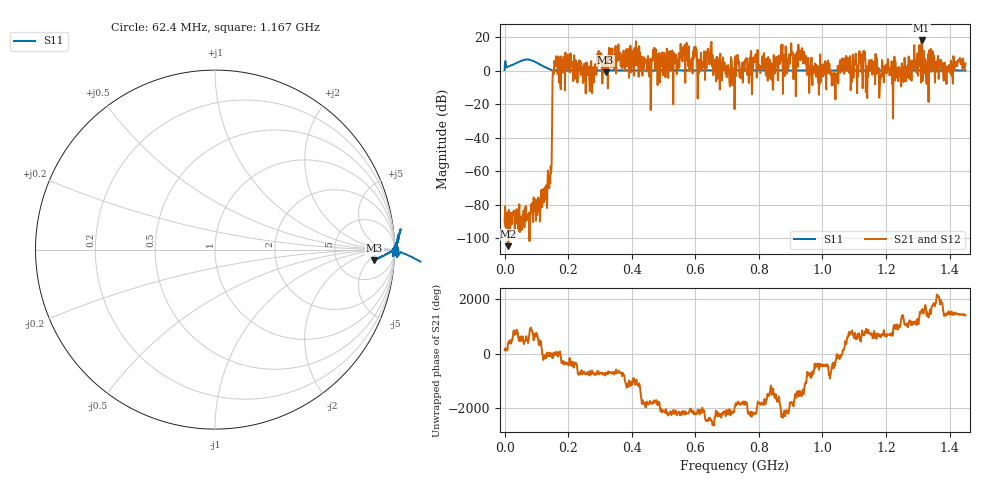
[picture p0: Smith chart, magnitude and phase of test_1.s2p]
! Created with skrf 1.11.0 (http://scikit-rf.org).
# Hz S RI R 50.0
!freq ReS11 ImS11 ReS21 ImS21 ReS12 ImS12 ReS22 ImS22
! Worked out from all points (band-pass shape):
!   1001 points, 50 kHz to 1.45 GHz, reference 50 ohm
!   highest |S21| = 17.91 dB at 1.312 GHz (marker M1); lowest = -104.7 dB at 11.65 MHz (marker M2)
!   |S21| within 3 dB of the highest: 648.8793 MHz to 651.2931 MHz (2.414 MHz wide, 0.371 % of centre); 923.622 MHz to 925.1871 MHz (1.565 MHz wide, 0.169 % of centre) (the widest 2 of 13)
!   lowest |S11| = -1.0 dB at 317.6 MHz (marker M3), VSWR 17.20, Z = 647 - j371 ohm
!   |S11| at or under -10 dB: nowhere
!   |S22| runs from - to - dB; largest |S21 - S12| = 0
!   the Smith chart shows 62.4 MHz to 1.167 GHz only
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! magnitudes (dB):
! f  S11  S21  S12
! 50 kHz  0.2  -89.9  -89.9
! 11.65 MHz  2.4  -104.7  -104.7
! 126.2 MHz  2.1  -74.1  -74.1
! 140.7 MHz  0.8  -70.1  -70.1
! 158.1 MHz  0.0  4.0  4.0
! 242.2 MHz  0.1  2.6  2.6
! 317.6 MHz  -1.0  7.9  7.9
! 335 MHz  0.1  2.1  2.1
! 484.3 MHz  0.1  0.5  0.5
! 538 MHz  0.1  5.5  5.5
! 559.7 MHz  0.1  5.5  5.5
! 613.4 MHz  0.1  1.9  1.9
! 643.8 MHz  0.1  3.8  3.8
! 725 MHz  0.1  -0.9  -0.9
! 842.5 MHz  0.1  4.1  4.1
! 930.9 MHz  0.0  6.1  6.1
! 967.2 MHz  0.1  -2.9  -2.9
! 1.209 GHz  0.0  1.7  1.7
! 1.312 GHz  0.0  17.9  17.9
! 1.327 GHz  0.0  -5.1  -5.1
! 1.343 GHz  0.0  -0.8  -0.8
! 1.45 GHz  0.0  4.2  4.2
